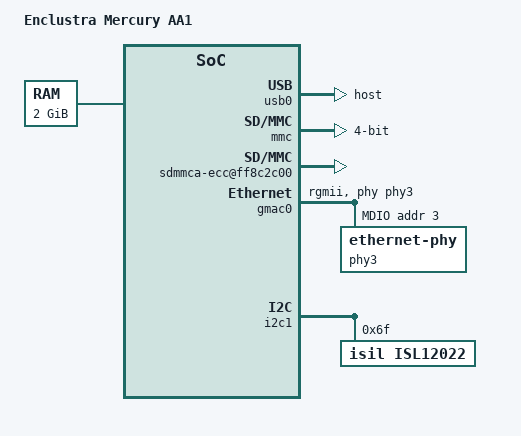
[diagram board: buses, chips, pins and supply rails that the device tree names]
#include "socfpga_arria10.dtsi"

/ {

	model = "Enclustra Mercury AA1";
	compatible = "altr,socfpga-arria10", "altr,socfpga";

	aliases {
		ethernet0 = &gmac0;
		serial1 = &uart1;
	};

	memory {
		name = "memory";
		device_type = "memory";
		reg = <0x0 0x80000000>; /* 2GB */
	};
};

&osc1 {
	clock-frequency = <33330000>;
};

&usb0 {
	status = "okay";
	dr_mode = "host";
};

/* Following mappings are taken from arria10 socdk dts */
&mmc {
	status = "okay";
	cap-sd-highspeed;
	broken-cd;
	bus-width = <4>;
};

&eccmgr {
        sdmmca-ecc@ff8c2c00 {
                compatible = "altr,socfpga-sdmmc-ecc";
                reg = <0xff8c2c00 0x400>;
                altr,ecc-parent = <&mmc>;
                interrupts = <15 IRQ_TYPE_LEVEL_HIGH>,
                             <47 IRQ_TYPE_LEVEL_HIGH>,
                             <16 IRQ_TYPE_LEVEL_HIGH>,
                             <48 IRQ_TYPE_LEVEL_HIGH>;
        };
};

&gmac0 {
	phy-mode = "rgmii";
	phy-addr = <0xffffffff>; /* probe for phy addr */

	txd0-skew-ps = <0>; /* -420ps */
	txd1-skew-ps = <0>; /* -420ps */
	txd2-skew-ps = <0>; /* -420ps */
	txd3-skew-ps = <0>; /* -420ps */
	rxd0-skew-ps = <420>; /* 0ps */
	rxd1-skew-ps = <420>; /* 0ps */
	rxd2-skew-ps = <420>; /* 0ps */
	rxd3-skew-ps = <420>; /* 0ps */
	txen-skew-ps = <0>; /* -420ps */
	txc-skew-ps = <1860>; /* 960ps */
	rxdv-skew-ps = <420>; /* 0ps */
	rxc-skew-ps = <1680>; /* 780ps */
	max-frame-size = <3800>;
	status = "okay";

	phy-handle = <&phy3>;

	mdio0 {
		#address-cells = <1>;
		#size-cells = <0>;
		compatible = "snps,dwmac-mdio";
		phy3: ethernet-phy@3 {
			reg = <3>;
		};
	};
};

&i2c1 {
	status = "okay";
	isl12022: isl12022@6f {
		status = "okay";
		compatible = "isil,isl12022";
		reg = <0x6f>;
	};
};
